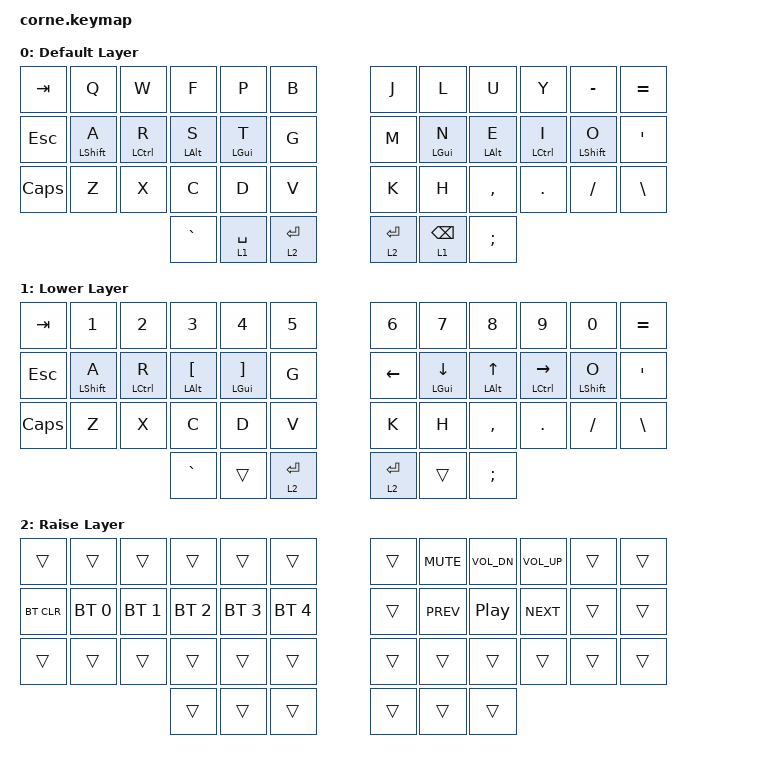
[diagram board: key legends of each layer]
/*
 * Copyright (c) 2020 The ZMK Contributors
 *
 * SPDX-License-Identifier: MIT
 */

#include <behaviors.dtsi>
#include <dt-bindings/zmk/keys.h>
#include <dt-bindings/zmk/bt.h>

/ {
        behaviors {
                mt: mod_tap {
                        compatible = "zmk,behavior-hold-tap";
                        #binding-cells = <2>;
                        flavor = "tap-preferred";
                        tapping-term-ms = <250>;
                        quick-tap-ms = <200>;
                        bindings = <&kp>, <&kp>;
                };
        };


        keymap {
                compatible = "zmk,keymap";

                default_layer {
                        display-name = "Default Layer";
                        bindings = <
   &kp TAB      &kp Q         &kp W         &kp F         &kp P          &kp B                 &kp J       &kp L        &kp U         &kp Y          &kp MINUS      &kp EQUAL
   &kp ESC      &mt LSHFT A   &mt LCTRL R   &mt LALT S    &mt LGUI T     &kp G                 &kp M       &mt LGUI N   &mt LALT E    &mt LCTRL I    &mt LSHFT O    &kp SQT
   &kp CAPS     &kp Z         &kp X         &kp C         &kp D          &kp V                 &kp K       &kp H        &kp COMMA     &kp DOT        &kp FSLH       &kp BSLH
                                            &kp GRAVE     &lt 1 SPACE    &lt 2 RET             &lt 2 RET   &lt 1 BSPC   &kp SEMI
                        >;
                };
                lower_layer {
                        display-name = "Lower Layer";
// Bluetooth keys: &bt BT_CLR &bt BT_SEL 0 &bt BT_SEL 1 &bt BT_SEL 2 &bt BT_SEL 3 &bt BT_SEL 4   &kp LEFT &kp DOWN &kp UP &kp RIGHT &trans &trans
                        bindings = <
   &kp TAB      &kp N1        &kp N2        &kp N3         &kp N4         &kp N5                &kp N6      &kp N7          &kp N8        &kp N9            &kp N0         &kp EQUAL
   &kp ESC      &mt LSHFT A   &mt LCTRL R   &mt LALT LBKT  &mt LGUI RBKT  &kp G                 &kp LEFT    &mt LGUI DOWN   &mt LALT UP   &mt LCTRL RIGHT   &mt LSHFT O    &kp SQT
   &kp CAPS     &kp Z         &kp X         &kp C          &kp D          &kp V                 &kp K       &kp H           &kp COMMA     &kp DOT           &kp FSLH       &kp BSLH
                                            &kp GRAVE      &trans         &lt 2 RET             &lt 2 RET   &trans          &kp SEMI
                        >;
                };

                raise_layer {
                        display-name = "Raise Layer";
                        bindings = <
   &trans     &trans       &trans       &trans       &trans       &trans            &trans  &kp C_MUTE  &kp C_VOL_DN  &kp C_VOL_UP  &trans  &trans
   &bt BT_CLR &bt BT_SEL 0 &bt BT_SEL 1 &bt BT_SEL 2 &bt BT_SEL 3 &bt BT_SEL 4      &trans  &kp C_PREV  &kp C_PP      &kp C_NEXT    &trans  &trans
   &trans     &trans       &trans       &trans       &trans       &trans            &trans  &trans      &trans        &trans        &trans  &trans
                                        &trans       &trans       &trans            &trans  &trans      &trans
                        >;
                };
        };
};
